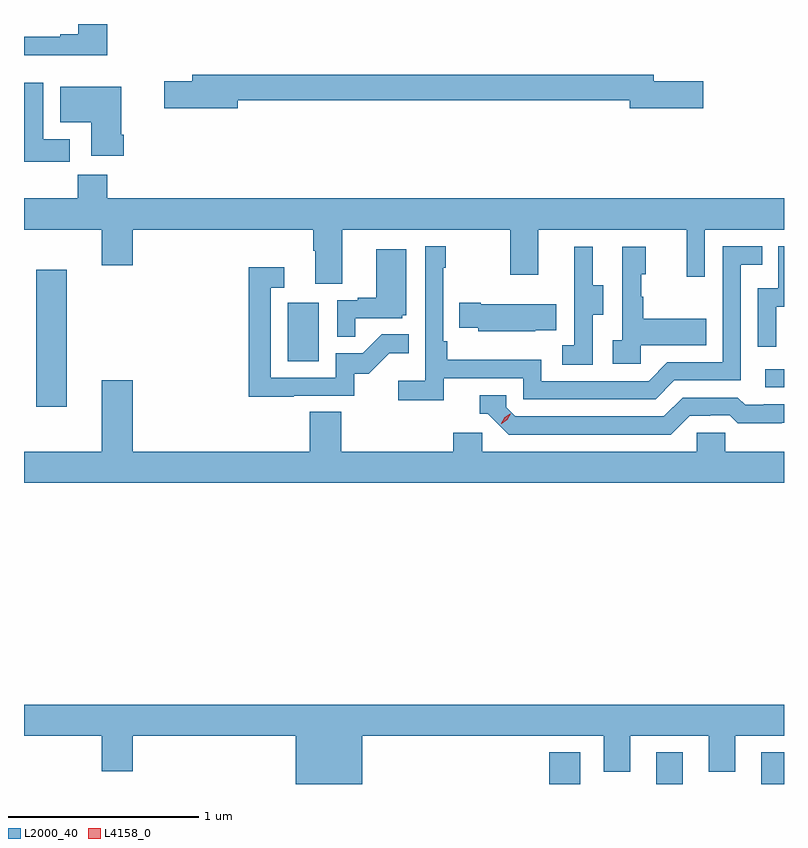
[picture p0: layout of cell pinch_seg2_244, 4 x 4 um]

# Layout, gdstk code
import gdstk
lib = gdstk.Library(unit=1e-6, precision=1e-09)
def R(c, l, rs):  # rectangles x0, y0, x1, y1
    for r in rs: c.add(gdstk.rectangle(r[:2], r[2:], *l))
def P(c, l, *ps):  # polygons
    for p in ps: c.add(gdstk.Polygon(p, *l))
L2000_40 = (2000, 40)
L4158_0 = (4158, 0)

pinch_seg2_244 = lib.new_cell('pinch_seg2_244')
R(pinch_seg2_244, L2000_40, [(934.595,651.378,934.759,651.544), (935.159,651.378,935.299,651.544), (935.711,651.378,935.831,651.544), (931.895,653.364,932.056,654.085), (935.733,653.466,935.831,653.562), (933.218,653.604,933.382,653.911)])
P(pinch_seg2_244, L2000_40, [(932.27,655.378),(932.117,655.378),(932.117,655.324),(932.021,655.324),(932.021,655.311),(931.831,655.311),(931.831,655.214),(932.27,655.214)],
  [(932.956,654.976),(935.018,654.976),(935.018,654.934),(935.407,654.934),(935.407,655.076),(935.146,655.076),(935.146,655.112),(932.717,655.112),(932.717,655.076),(932.568,655.076),(932.568,654.934),(932.956,654.934)],
  [(932.072,654.772),(931.933,654.772),(931.933,655.069),(931.831,655.069),(931.831,654.654),(932.072,654.654)],
  [(932.357,654.796),(932.344,654.796),(932.344,655.048),(932.021,655.048),(932.021,654.86),(932.186,654.86),(932.186,654.684),(932.357,654.684)],
  [(933.505,654.296),(934.39,654.296),(934.39,654.057),(934.537,654.057),(934.537,654.296),(935.318,654.296),(935.318,654.048),(935.415,654.048),(935.415,654.296),(935.831,654.296),(935.831,654.46),(932.27,654.46),(932.27,654.584),(932.113,654.584),(932.113,654.46),(931.831,654.46),(931.831,654.296),(932.24,654.296),(932.24,654.108),(932.404,654.108),(932.404,654.296),(933.353,654.296),(933.353,654.184),(933.365,654.184),(933.365,654.01),(933.505,654.01)],
  [(934.04,653.514),(934.458,653.514),(934.458,653.403),(935.155,653.403),(935.254,653.502),(935.604,653.502),(935.604,654.111),(935.717,654.111),(935.717,654.207),(935.508,654.207),(935.508,653.598),(935.217,653.598),(935.118,653.499),(934.554,653.499),(934.554,653.611),(934.058,653.611),(934.058,653.707),(934.038,653.707),(934.038,654.095),(934.051,654.095),(934.051,654.208),(933.942,654.208),(933.942,653.5),(933.801,653.5),(933.801,653.398),(934.04,653.398)],
  [(935.79,653.891),(935.831,653.891),(935.831,654.207),(935.802,654.207),(935.802,653.988),(935.694,653.988),(935.694,653.679),(935.79,653.679)],
  [(934.824,653.848),(934.879,653.848),(934.879,654.003),(934.825,654.003),(934.825,654.205),(934.727,654.205),(934.727,653.991),(934.728,653.991),(934.728,653.687),(934.665,653.687),(934.665,653.584),(934.824,653.584)],
  [(935.076,653.687),(935.423,653.687),(935.423,653.827),(935.089,653.827),(935.089,653.942),(935.079,653.942),(935.079,654.06),(935.104,654.06),(935.104,654.205),(934.98,654.205),(934.98,653.714),(934.929,653.714),(934.929,653.589),(935.076,653.589)],
  [(933.575,653.829),(933.822,653.829),(933.822,653.844),(933.844,653.844),(933.844,654.193),(933.686,654.193),(933.686,653.938),(933.587,653.938),(933.587,653.925),(933.48,653.925),(933.48,653.731),(933.575,653.731)],
  [(933.251,653.421),(933.57,653.421),(933.57,653.538),(933.646,653.538),(933.753,653.645),(933.857,653.645),(933.857,653.744),(933.713,653.744),(933.615,653.646),(933.471,653.646),(933.471,653.517),(933.129,653.517),(933.129,653.991),(933.202,653.991),(933.202,654.097),(933.013,654.097),(933.013,653.416),(933.251,653.416)],
  [(934.523,653.765),(934.631,653.765),(934.631,653.902),(934.234,653.902),(934.234,653.91),(934.123,653.91),(934.123,653.78),(934.221,653.78),(934.221,653.762),(934.523,653.762)],
  [(935.831,653.128),(935.523,653.128),(935.523,653.226),(935.373,653.226),(935.373,653.128),(934.242,653.128),(934.242,653.226),(934.091,653.226),(934.091,653.128),(933.5,653.128),(933.5,653.336),(933.335,653.336),(933.335,653.128),(932.404,653.128),(932.404,653.503),(932.24,653.503),(932.24,653.128),(931.831,653.128),(931.831,652.964),(935.831,652.964)],
  [(935.335,653.316),(935.442,653.316),(935.442,653.319),(935.545,653.319),(935.587,653.277),(935.82,653.277),(935.82,653.279),(935.831,653.279),(935.831,653.376),(935.725,653.376),(935.725,653.373),(935.626,653.373),(935.587,653.412),(935.298,653.412),(935.199,653.313),(934.416,653.313),(934.368,653.361),(934.368,653.424),(934.229,653.424),(934.229,653.328),(934.272,653.328),(934.383,653.217),(935.236,653.217)],
  [(933.61,651.632),(934.883,651.632),(934.883,651.442),(935.023,651.442),(935.023,651.632),(935.435,651.632),(935.435,651.442),(935.575,651.442),(935.575,651.632),(935.831,651.632),(935.831,651.796),(931.831,651.796),(931.831,651.632),(932.24,651.632),(932.24,651.444),(932.404,651.444),(932.404,651.632),(933.26,651.632),(933.26,651.378),(933.61,651.378)])
P(pinch_seg2_244, L4158_0, [(934.344,653.275),(934.344,653.276),(934.361,653.308),(934.391,653.327),(934.392,653.327),(934.392,653.327),(934.375,653.295),(934.345,653.275)])

lib.write_gds('pinch_seg2_244.gds')
